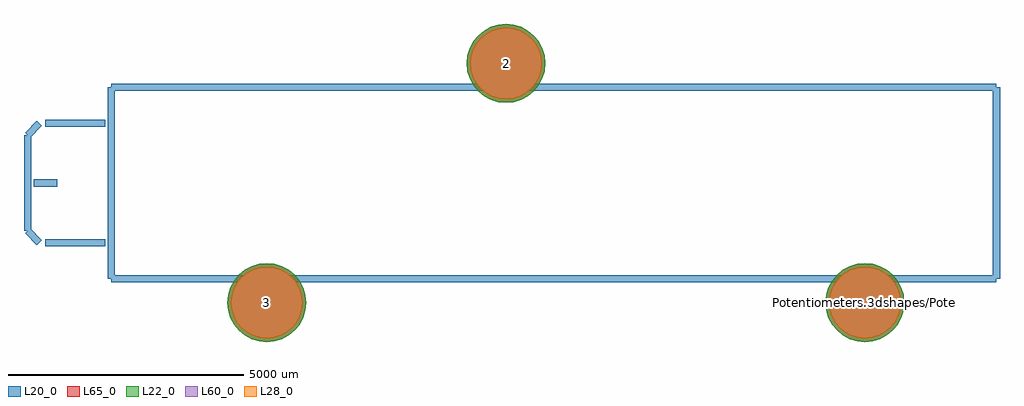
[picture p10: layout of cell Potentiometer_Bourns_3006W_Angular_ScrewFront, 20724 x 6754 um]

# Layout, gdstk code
import gdstk
lib = gdstk.Library(unit=1e-6, precision=1e-09)
def P(c, l, *ps):  # polygons
    for p in ps: c.add(gdstk.Polygon(p, *l))
L20_0 = (20, 0)
L22_0 = (22, 0)
L28_0 = (28, 0)
L60_0 = (60, 0)
L65_0 = (65, 0)

potentiometer_bourns_300 = lib.new_cell('Potentiometer_Bourns_3006W_Angular_ScrewFront')
P(potentiometer_bourns_300, L22_0, [(837,0),(820.917,163.291),(773.287,320.306),(695.94,465.012),(591.848,591.848),(465.012,695.94),(320.306,773.287),(163.291,820.917),(0,837),(-163.291,820.917),(-320.306,773.287),(-465.012,695.94),(-591.848,591.848),(-695.94,465.012),(-773.287,320.306),(-820.917,163.291),(-837,0),(-820.917,-163.291),(-773.287,-320.306),(-695.94,-465.012),(-591.848,-591.848),(-465.012,-695.94),(-320.306,-773.287),(-163.291,-820.917),(0,-837),(163.291,-820.917),(320.306,-773.287),(465.012,-695.94),(591.848,-591.848),(695.94,-465.012),(773.287,-320.306),(820.917,-163.291)],
  [(-6783,5080),(-6799.083,5243.291),(-6846.713,5400.306),(-6924.06,5545.012),(-7028.152,5671.848),(-7154.988,5775.94),(-7299.694,5853.287),(-7456.709,5900.917),(-7620,5917),(-7783.291,5900.917),(-7940.306,5853.287),(-8085.012,5775.94),(-8211.848,5671.848),(-8315.94,5545.012),(-8393.287,5400.306),(-8440.917,5243.291),(-8457,5080),(-8440.917,4916.709),(-8393.287,4759.694),(-8315.94,4614.988),(-8211.848,4488.152),(-8085.012,4384.06),(-7940.306,4306.713),(-7783.291,4259.083),(-7620,4243),(-7456.709,4259.083),(-7299.694,4306.713),(-7154.988,4384.06),(-7028.152,4488.152),(-6924.06,4614.988),(-6846.713,4759.694),(-6799.083,4916.709)],
  [(-11863,0),(-11879.083,163.291),(-11926.713,320.306),(-12004.06,465.012),(-12108.152,591.848),(-12234.988,695.94),(-12379.694,773.287),(-12536.709,820.917),(-12700,837),(-12863.291,820.917),(-13020.306,773.287),(-13165.012,695.94),(-13291.848,591.848),(-13395.94,465.012),(-13473.287,320.306),(-13520.917,163.291),(-13537,0),(-13520.917,-163.291),(-13473.287,-320.306),(-13395.94,-465.012),(-13291.848,-591.848),(-13165.012,-695.94),(-13020.306,-773.287),(-12863.291,-820.917),(-12700,-837),(-12536.709,-820.917),(-12379.694,-773.287),(-12234.988,-695.94),(-12108.152,-591.848),(-12004.06,-465.012),(-11926.713,-320.306),(-11879.083,-163.291)])
P(potentiometer_bourns_300, L28_0, [(762,0),(747.358,148.659),(703.996,291.605),(633.58,423.345),(538.815,538.815),(423.345,633.58),(291.605,703.996),(148.659,747.358),(0,762),(-148.659,747.358),(-291.605,703.996),(-423.345,633.58),(-538.815,538.815),(-633.58,423.345),(-703.996,291.605),(-747.358,148.659),(-762,0),(-747.358,-148.659),(-703.996,-291.605),(-633.58,-423.345),(-538.815,-538.815),(-423.345,-633.58),(-291.605,-703.996),(-148.659,-747.358),(0,-762),(148.659,-747.358),(291.605,-703.996),(423.345,-633.58),(538.815,-538.815),(633.58,-423.345),(703.996,-291.605),(747.358,-148.659)],
  [(-6858,5080),(-6872.642,5228.659),(-6916.004,5371.605),(-6986.42,5503.345),(-7081.185,5618.815),(-7196.655,5713.58),(-7328.395,5783.996),(-7471.341,5827.358),(-7620,5842),(-7768.659,5827.358),(-7911.605,5783.996),(-8043.345,5713.58),(-8158.815,5618.815),(-8253.58,5503.345),(-8323.996,5371.605),(-8367.358,5228.659),(-8382,5080),(-8367.358,4931.341),(-8323.996,4788.395),(-8253.58,4656.655),(-8158.815,4541.185),(-8043.345,4446.42),(-7911.605,4376.004),(-7768.659,4332.642),(-7620,4318),(-7471.341,4332.642),(-7328.395,4376.004),(-7196.655,4446.42),(-7081.185,4541.185),(-6986.42,4656.655),(-6916.004,4788.395),(-6872.642,4931.341)],
  [(-11938,0),(-11952.642,148.659),(-11996.004,291.605),(-12066.42,423.345),(-12161.185,538.815),(-12276.655,633.58),(-12408.395,703.996),(-12551.341,747.358),(-12700,762),(-12848.659,747.358),(-12991.605,703.996),(-13123.345,633.58),(-13238.815,538.815),(-13333.58,423.345),(-13403.996,291.605),(-13447.358,148.659),(-13462,0),(-13447.358,-148.659),(-13403.996,-291.605),(-13333.58,-423.345),(-13238.815,-538.815),(-13123.345,-633.58),(-12991.605,-703.996),(-12848.659,-747.358),(-12700,-762),(-12551.341,-747.358),(-12408.395,-703.996),(-12276.655,-633.58),(-12161.185,-538.815),(-12066.42,-423.345),(-11996.004,-291.605),(-11952.642,-148.659)])
P(potentiometer_bourns_300, L60_0, [(762,0),(747.358,148.659),(703.996,291.605),(633.58,423.345),(538.815,538.815),(423.345,633.58),(291.605,703.996),(148.659,747.358),(0,762),(-148.659,747.358),(-291.605,703.996),(-423.345,633.58),(-538.815,538.815),(-633.58,423.345),(-703.996,291.605),(-747.358,148.659),(-762,0),(-747.358,-148.659),(-703.996,-291.605),(-633.58,-423.345),(-538.815,-538.815),(-423.345,-633.58),(-291.605,-703.996),(-148.659,-747.358),(0,-762),(148.659,-747.358),(291.605,-703.996),(423.345,-633.58),(538.815,-538.815),(633.58,-423.345),(703.996,-291.605),(747.358,-148.659)],
  [(-6858,5080),(-6872.642,5228.659),(-6916.004,5371.605),(-6986.42,5503.345),(-7081.185,5618.815),(-7196.655,5713.58),(-7328.395,5783.996),(-7471.341,5827.358),(-7620,5842),(-7768.659,5827.358),(-7911.605,5783.996),(-8043.345,5713.58),(-8158.815,5618.815),(-8253.58,5503.345),(-8323.996,5371.605),(-8367.358,5228.659),(-8382,5080),(-8367.358,4931.341),(-8323.996,4788.395),(-8253.58,4656.655),(-8158.815,4541.185),(-8043.345,4446.42),(-7911.605,4376.004),(-7768.659,4332.642),(-7620,4318),(-7471.341,4332.642),(-7328.395,4376.004),(-7196.655,4446.42),(-7081.185,4541.185),(-6986.42,4656.655),(-6916.004,4788.395),(-6872.642,4931.341)],
  [(-11938,0),(-11952.642,148.659),(-11996.004,291.605),(-12066.42,423.345),(-12161.185,538.815),(-12276.655,633.58),(-12408.395,703.996),(-12551.341,747.358),(-12700,762),(-12848.659,747.358),(-12991.605,703.996),(-13123.345,633.58),(-13238.815,538.815),(-13333.58,423.345),(-13403.996,291.605),(-13447.358,148.659),(-13462,0),(-13447.358,-148.659),(-13403.996,-291.605),(-13333.58,-423.345),(-13238.815,-538.815),(-13123.345,-633.58),(-12991.605,-703.996),(-12848.659,-747.358),(-12700,-762),(-12551.341,-747.358),(-12408.395,-703.996),(-12276.655,-633.58),(-12161.185,-538.815),(-12066.42,-423.345),(-11996.004,-291.605),(-11952.642,-148.659)])
P(potentiometer_bourns_300, L65_0, [(837,0),(820.917,163.291),(773.287,320.306),(695.94,465.012),(591.848,591.848),(465.012,695.94),(320.306,773.287),(163.291,820.917),(0,837),(-163.291,820.917),(-320.306,773.287),(-465.012,695.94),(-591.848,591.848),(-695.94,465.012),(-773.287,320.306),(-820.917,163.291),(-837,0),(-820.917,-163.291),(-773.287,-320.306),(-695.94,-465.012),(-591.848,-591.848),(-465.012,-695.94),(-320.306,-773.287),(-163.291,-820.917),(0,-837),(163.291,-820.917),(320.306,-773.287),(465.012,-695.94),(591.848,-591.848),(695.94,-465.012),(773.287,-320.306),(820.917,-163.291)],
  [(-6783,5080),(-6799.083,5243.291),(-6846.713,5400.306),(-6924.06,5545.012),(-7028.152,5671.848),(-7154.988,5775.94),(-7299.694,5853.287),(-7456.709,5900.917),(-7620,5917),(-7783.291,5900.917),(-7940.306,5853.287),(-8085.012,5775.94),(-8211.848,5671.848),(-8315.94,5545.012),(-8393.287,5400.306),(-8440.917,5243.291),(-8457,5080),(-8440.917,4916.709),(-8393.287,4759.694),(-8315.94,4614.988),(-8211.848,4488.152),(-8085.012,4384.06),(-7940.306,4306.713),(-7783.291,4259.083),(-7620,4243),(-7456.709,4259.083),(-7299.694,4306.713),(-7154.988,4384.06),(-7028.152,4488.152),(-6924.06,4614.988),(-6846.713,4759.694),(-6799.083,4916.709)],
  [(-11863,0),(-11879.083,163.291),(-11926.713,320.306),(-12004.06,465.012),(-12108.152,591.848),(-12234.988,695.94),(-12379.694,773.287),(-12536.709,820.917),(-12700,837),(-12863.291,820.917),(-13020.306,773.287),(-13165.012,695.94),(-13291.848,591.848),(-13395.94,465.012),(-13473.287,320.306),(-13520.917,163.291),(-13537,0),(-13520.917,-163.291),(-13473.287,-320.306),(-13395.94,-465.012),(-13291.848,-591.848),(-13165.012,-695.94),(-13020.306,-773.287),(-12863.291,-820.917),(-12700,-837),(-12536.709,-820.917),(-12379.694,-773.287),(-12234.988,-695.94),(-12108.152,-591.848),(-12004.06,-465.012),(-11926.713,-320.306),(-11879.083,-163.291)])
potentiometer_bourns_300.add(gdstk.FlexPath([(2794,4572),(-16002,4572)], 149.998, ends="flush", simple_path=True, layer=20, datatype=0))  # L20_0
potentiometer_bourns_300.add(gdstk.FlexPath([(-16002,508),(2794,508)], 149.998, ends="flush", simple_path=True, layer=20, datatype=0))  # L20_0
potentiometer_bourns_300.add(gdstk.FlexPath([(2794,508),(2794,4572)], 149.998, ends="flush", simple_path=True, layer=20, datatype=0))  # L20_0
potentiometer_bourns_300.add(gdstk.FlexPath([(-16002,508),(-16002,4572)], 149.998, ends="flush", simple_path=True, layer=20, datatype=0))  # L20_0
potentiometer_bourns_300.add(gdstk.FlexPath([(-17653,2540),(-17145,2540)], 149.998, ends="flush", simple_path=True, layer=20, datatype=0))  # L20_0
potentiometer_bourns_300.add(gdstk.FlexPath([(-16129,1270),(-17399,1270)], 149.998, ends="flush", simple_path=True, layer=20, datatype=0))  # L20_0
potentiometer_bourns_300.add(gdstk.FlexPath([(-16129,3810),(-17399,3810)], 149.998, ends="flush", simple_path=True, layer=20, datatype=0))  # L20_0
potentiometer_bourns_300.add(gdstk.FlexPath([(-17780,1524),(-17526,1270)], 149.998, ends="flush", simple_path=True, layer=20, datatype=0))  # L20_0
potentiometer_bourns_300.add(gdstk.FlexPath([(-17780,2540),(-17780,1524)], 149.998, ends="flush", simple_path=True, layer=20, datatype=0))  # L20_0
potentiometer_bourns_300.add(gdstk.FlexPath([(-17780,3556),(-17780,2540)], 149.998, ends="flush", simple_path=True, layer=20, datatype=0))  # L20_0
potentiometer_bourns_300.add(gdstk.FlexPath([(-17526,3810),(-17780,3556)], 149.998, ends="flush", simple_path=True, layer=20, datatype=0))  # L20_0
potentiometer_bourns_300.add(gdstk.Label('Potentiometers.3dshapes/Potentiometer_Bourns_3006W_Angular_ScrewFront.wrl', (0,0), layer=12, texttype=0))
potentiometer_bourns_300.add(gdstk.Label('1', (0,0), layer=28, texttype=0))
potentiometer_bourns_300.add(gdstk.Label('2', (-7620,5080), layer=28, texttype=0))
potentiometer_bourns_300.add(gdstk.Label('3', (-12700,0), layer=28, texttype=0))
potentiometer_bourns_300.add(gdstk.Label('type', (-5334,-2540), layer=9, texttype=0))
potentiometer_bourns_300.add(gdstk.Label('devicename', (-6604,8890), layer=9, texttype=0))

lib.write_gds('Potentiometer_Bourns_3006W_Angular_ScrewFront.gds')
